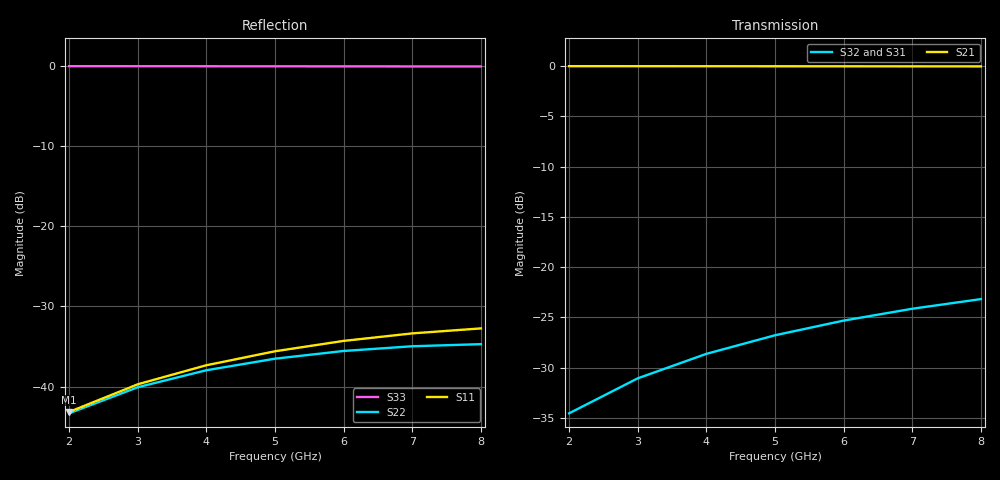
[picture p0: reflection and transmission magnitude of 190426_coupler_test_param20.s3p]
! Sonnet Data File
! From: emgraph Version : 16.56
! From Project: 190426_coupler_test
! Data is De-embedded
! Data File Written: 05/06/2019 15:59:44
!< HDATE 04/25/2019 10:48:44
!< MDATE 04/25/2019 10:59:35
!< PARAMS
!< tandelta = 0.0
!< t_aSi = 0.25
!< W = 10.0
!< Lcoupler = 1900.0
!< END PARAMS
# GHZ S MA R 50.0 !  non standard terminations in data
! TERM 50.00000 0.000000 50.00000 0.000000 63.84000 0.000000
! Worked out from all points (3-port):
!   7 points, 2 GHz to 8 GHz, reference 50 ohm
!   strongest paths, dB at 2 GHz, 3 GHz, 5 GHz, 7 GHz, 8 GHz:
!     S21: 0.0, 0.0, 0.0, 0.0, 0.0
!     S32: -34.5, -31.1, -26.8, -24.1, -23.2
!     S31: -34.6, -31.1, -26.9, -24.3, -23.4
!   lowest |S11| = -43.2 dB at 2 GHz (marker M1), VSWR 1.01, Z = 50.3 + j0.647 ohm
!   |S11| at or under -10 dB: start of sweep to end of sweep
2  0.006945 68.0  0.9998 -21.7  0.0187 53.6
   0.9998 -21.7  0.006811 71.3  0.01875 77.6
   0.0187 53.6  0.01875 77.6  0.9996 -27.4
3  0.01034 56.5  0.9996 -32.5  0.02783 35.4
   0.9996 -32.5  0.009908 62.1  0.02799 71.4
   0.02783 35.4  0.02799 71.4  0.9992 -41.2
4  0.01359 44.6  0.9992 -43.4  0.03671 17.1
   0.9992 -43.4  0.01265 52.9  0.03705 65.1
   0.03671 17.1  0.03705 65.1  0.9986 -54.9
5  0.01661 32.2  0.9988 -54.2  0.04525 -1.1
   0.9988 -54.2  0.01493 43.8  0.04583 58.6
   0.04525 -1.1  0.04583 58.6  0.9979 -68.8
6  0.01928 19.2  0.9984 -65.1  0.05335 -19.3
   0.9984 -65.1  0.01668 34.8  0.05422 52.1
   0.05335 -19.3  0.05422 52.1  0.9971 -82.6
7  0.02148 5.4  0.9979 -75.9  0.06095 -37.6
   0.9979 -75.9  0.01785 26.0  0.06211 45.5
   0.06095 -37.6  0.06211 45.5  0.9962 -96.5
8  0.02308 -9.0  0.9974 -86.7  0.06795 -55.9
   0.9974 -86.7  0.0184 17.5  0.06936 38.9
   0.06795 -55.9  0.06936 38.9  0.9953 -110.4
